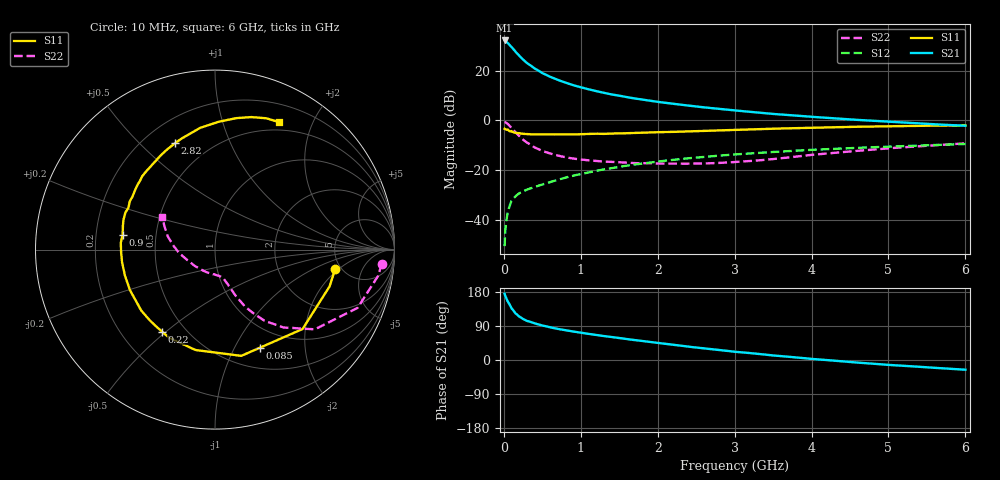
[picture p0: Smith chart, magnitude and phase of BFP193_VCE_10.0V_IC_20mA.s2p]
! Infineon Technologies  Discrete & RF Semiconductors
! BFP193
! VCE = 10.0V,  IC =  20 mA
! Common Emitter S-Parameters:  Jan 2016
# GHz  S  MA  R  50
!  f  S11  S21  S12  S22
! GHz  MAG  ANG  MAG  ANG  MAG  ANG  MAG  ANG
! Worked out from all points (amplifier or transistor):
!   210 points, 10 MHz to 6 GHz, reference 50 ohm
!   highest |S21| = 32.3 dB at 10 MHz (marker M1)
!   |S21| within 3 dB of that: start of sweep to 110.2 MHz
!   unconditionally stable (mu >= 1): 852.7 MHz to 3.958 GHz
!   at 185 MHz: K = 0.46, MSG = 28.2 dB, |S12| = -29.7 dB
!   at 1.52 GHz: K = 1.07, MAG = 12.6 dB, |S12| = -18.6 dB
!   at 6 GHz: K = 0.92, MSG = 3.7 dB, |S12| = -9.5 dB
!   S11 on the Smith chart (normalised r, x): 10 MHz: 4.50, -1.77; 85 MHz: 0.74, -1.27; 220 MHz: 0.37, -0.48; 900 MHz: 0.32, +0.07; 2.82 GHz: 0.32, +0.64; 6 GHz: 0.40, +1.54
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0.01  0.6786 -9.0  41.2 174.7  0.0029 75.0  0.9326 -4.8
0.02  0.6705 -17.8  40.02 168.3  0.0063 78.2  0.9203 -9.2
0.05  0.6587 -42.2  37.05 154.6  0.0137 70.3  0.8584 -22.2
0.085  0.6011 -65.5  32.09 142.6  0.0208 61.4  0.7491 -33.0
0.1  0.6099 -76.1  30.49 136.4  0.0239 59.2  0.7122 -38.6
0.15  0.5699 -101.0  24.52 123.2  0.0295 52.8  0.5784 -48.6
0.2  0.5536 -117.6  20.23 114.6  0.0339 50.6  0.4828 -55.2
0.22  0.5437 -122.9  18.86 112.3  0.0352 49.8  0.4527 -56.7
0.26  0.5359 -133.0  16.38 107.3  0.0377 49.0  0.3983 -59.8
0.3  0.533 -140.5  14.46 103.3  0.0402 49.9  0.3586 -62.2
0.4  0.5249 -154.6  11.22 96.5  0.0454 50.2  0.2858 -65.7
0.5  0.5222 -164.1  9.054 91.0  0.0509 51.9  0.2426 -67.6
0.6  0.5226 -172.3  7.635 86.2  0.0572 53.4  0.2155 -69.1
0.9  0.5211 170.9  5.16 75.2  0.0767 55.4  0.1699 -73.3
1.02  0.5303 165.3  4.584 71.4  0.0841 55.6  0.1616 -75.2
1.4  0.5455 150.6  3.353 60.6  0.1088 54.1  0.1462 -83.2
2.02  0.5807 131.4  2.354 44.5  0.1495 49.0  0.1348 -102.2
2.82  0.6339 110.5  1.703 25.9  0.1959 40.4  0.1394 -134.0
3.1  0.652 104.7  1.544 20.1  0.2108 37.2  0.1477 -145.3
4.1  0.7173 86.8  1.157 1.4  0.2593 26.3  0.2082 -177.5
5.1  0.769 73.4  0.925 -14.1  0.3 15.9  0.2809 162.2
6  0.7947 63.4  0.783 -25.7  0.335 6.7  0.3449 148.3
